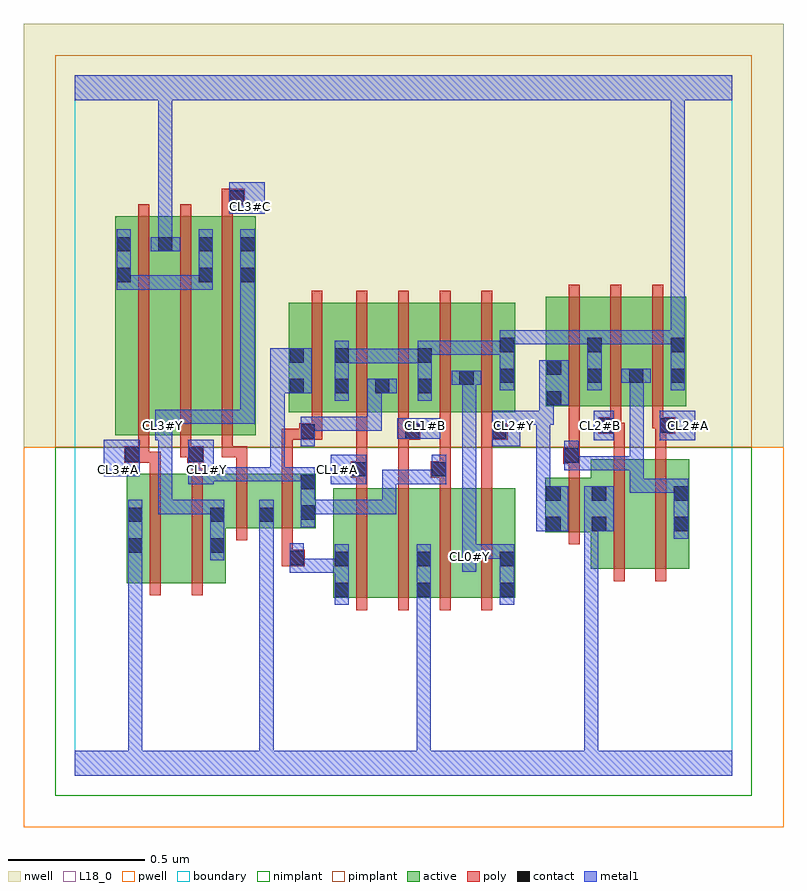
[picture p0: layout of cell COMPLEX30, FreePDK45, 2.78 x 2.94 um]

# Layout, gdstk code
import gdstk
lib = gdstk.Library(unit=1e-6, precision=1e-09)
def R(c, l, rs):  # rectangles x0, y0, x1, y1
    for r in rs: c.add(gdstk.rectangle(r[:2], r[2:], *l))
def A(c, l, x, y, w, h, nx, ny, dx, dy):  # array of equal rectangles
    R(c, l, [(x+i*dx, y+j*dy, x+i*dx+w, y+j*dy+h) for i in range(nx) for j in range(ny)])
active = (1, 0)
pwell = (2, 0)
nwell = (3, 0)
nimplant = (4, 0)
pimplant = (5, 0)
poly = (9, 0)
contact = (10, 0)
metal1 = (11, 0)
L18_0 = (18, 0)
boundary = (235, 0)

complex30 = lib.new_cell('COMPLEX30')
R(complex30, active, [(0.944,0.65,1.004,1.05), (0.944,0.65,1.124,1.05), (1.124,0.65,1.304,1.05), (1.244,0.65,1.304,1.05), (1.244,0.65,1.428,1.05), (1.428,0.65,1.608,1.05), (1.548,0.65,1.608,1.05), (0.19,0.704,0.37,1.104), (0.37,0.704,0.55,1.104), (0.19,0.756,0.25,1.104), (1.884,0.756,2.064,1.156), (2.064,0.756,2.244,1.156), (2.184,0.756,2.244,1.156), (0.49,0.812,0.55,1.028), (1.718,0.89,1.944,1.09), (1.718,0.89,1.778,1.09), (1.884,0.89,1.944,1.062), (0.49,0.904,0.73,1.104), (0.67,0.904,0.73,1.104), (0.67,0.904,0.88,1.104), (0.82,0.904,0.88,1.104), (0.148,1.244,0.208,2.044), (0.148,1.244,0.36,2.044), (0.3,1.244,0.36,2.044), (0.3,1.244,0.508,2.044), (0.448,1.244,0.508,2.044), (0.448,1.244,0.66,2.044), (0.6,1.244,0.66,2.044), (0.78,1.328,1.004,1.728), (0.78,1.328,0.84,1.644), (0.944,1.328,1.152,1.728), (1.092,1.328,1.152,1.728), (1.092,1.328,1.308,1.728), (1.248,1.328,1.308,1.728), (1.248,1.328,1.46,1.728), (1.4,1.328,1.46,1.728), (1.4,1.328,1.608,1.728), (1.548,1.328,1.608,1.728), (1.72,1.35,1.78,1.75), (1.72,1.35,1.928,1.75), (1.868,1.35,1.928,1.644), (1.868,1.35,2.08,1.75), (2.02,1.35,2.08,1.75), (2.02,1.35,2.232,1.75), (2.172,1.35,2.232,1.644), (0.944,1.366,1.004,1.728)])
R(complex30, pwell, [(-0.188,-0.188,2.588,1.2)])
R(complex30, nwell, [(-0.188,1.2,2.588,2.748)])
R(complex30, nimplant, [(-0.072,-0.072,2.472,1.2)])
R(complex30, pimplant, [(-0.072,1.2,2.472,2.632)])
A(complex30, poly, 1.028, 0.606, 0.04, 0.488, 4, 2, 0.152, 0.678)
A(complex30, poly, 0.232, 1.164, 0.04, 0.076, 3, 1, 0.152, 0)
A(complex30, poly, 0.232, 1.2, 0.04, 0.888, 3, 1, 0.152, 0)
A(complex30, poly, 1.804, 1.306, 0.04, 0.488, 3, 1, 0.152, 0)
R(complex30, poly, [(0.274,0.66,0.314,1.148), (0.426,0.66,0.466,1.148), (1.968,0.712,2.008,1.2), (2.12,0.712,2.16,1.2), (0.756,0.766,0.84,0.826), (0.756,0.786,0.796,0.9), (1.804,0.846,1.844,1.134), (0.59,0.86,0.63,1.148), (0.756,0.86,0.796,1.148), (1.028,1.054,1.068,1.13), (1.18,1.054,1.22,1.268), (1.332,1.054,1.372,1.13), (1.484,1.054,1.524,1.268), (1.008,1.09,1.068,1.15), (1.3,1.09,1.372,1.15), (1.804,1.094,1.844,1.18), (0.274,1.108,0.314,1.184), (0.426,1.108,0.466,1.184), (0.59,1.108,0.63,1.204), (0.756,1.108,0.796,1.268), (1.028,1.11,1.068,1.15), (1.028,1.11,1.068,1.15), (1.028,1.11,1.068,1.324), (1.332,1.11,1.372,1.15), (1.332,1.11,1.372,1.15), (1.332,1.11,1.372,1.324), (1.784,1.14,1.844,1.2), (0.18,1.144,0.272,1.204), (0.232,1.144,0.272,1.184), (0.232,1.144,0.314,1.184), (0.41,1.144,0.47,1.204), (1.804,1.16,1.844,1.2), (1.804,1.16,1.844,1.2), (1.804,1.16,1.844,1.346), (1.968,1.16,2.008,1.29), (2.12,1.16,2.16,1.29), (0.384,1.164,0.45,1.204), (0.41,1.164,0.45,1.204), (0.536,1.164,0.604,1.204), (0.564,1.164,0.604,1.204), (0.564,1.164,0.63,1.204), (0.756,1.228,0.86,1.268), (0.82,1.228,0.86,1.268), (0.82,1.228,0.904,1.288), (1.18,1.228,1.22,1.268), (1.18,1.228,1.22,1.268), (1.18,1.228,1.262,1.288), (1.484,1.228,1.524,1.268), (1.484,1.228,1.524,1.268), (1.484,1.228,1.58,1.288), (0.864,1.248,0.904,1.324), (1.18,1.248,1.22,1.324), (1.484,1.248,1.524,1.324), (1.912,1.25,1.996,1.31), (1.956,1.25,1.996,1.29), (1.956,1.25,2.008,1.29), (2.12,1.25,2.192,1.31), (1.956,1.27,1.996,1.346), (2.108,1.27,2.148,1.346), (2.108,1.27,2.16,1.31), (2.12,1.27,2.16,1.31), (0.864,1.284,0.904,1.772), (0.536,2.048,0.576,2.124), (0.536,2.084,0.62,2.144)])
A(complex30, contact, 1.872, 1.436, 0.052, 0.052, 3, 1, 0.152, 0)
R(complex30, contact, [(0.948,0.654,1,0.706), (1.248,0.654,1.3,0.706), (1.552,0.654,1.604,0.706), (0.948,0.766,1,0.818), (1.248,0.766,1.3,0.818), (1.552,0.766,1.604,0.818), (0.784,0.77,0.836,0.822), (0.194,0.816,0.246,0.868), (0.494,0.816,0.546,0.868), (1.722,0.894,1.774,0.946), (1.888,0.894,1.94,0.946), (2.188,0.894,2.24,0.946), (0.194,0.928,0.246,0.98), (0.494,0.928,0.546,0.98), (0.674,0.928,0.726,0.98), (0.824,0.936,0.876,0.988), (1.722,1.006,1.774,1.058), (1.888,1.006,1.94,1.058), (2.188,1.006,2.24,1.058), (0.824,1.048,0.876,1.1), (1.012,1.094,1.064,1.146), (1.304,1.094,1.356,1.146), (1.788,1.144,1.84,1.196), (0.184,1.148,0.236,1.2), (0.414,1.148,0.466,1.2), (0.824,1.232,0.876,1.284), (1.206,1.232,1.258,1.284), (1.524,1.232,1.576,1.284), (1.916,1.254,1.968,1.306), (2.136,1.254,2.188,1.306), (1.724,1.354,1.776,1.406), (0.784,1.398,0.836,1.45), (0.948,1.398,1,1.45), (1.096,1.398,1.148,1.45), (1.252,1.398,1.304,1.45), (1.404,1.428,1.456,1.48), (1.552,1.436,1.604,1.488), (1.724,1.466,1.776,1.518), (0.784,1.51,0.836,1.562), (0.948,1.51,1,1.562), (1.252,1.51,1.304,1.562), (1.552,1.548,1.604,1.6), (1.872,1.548,1.924,1.6), (2.176,1.548,2.228,1.6), (0.152,1.804,0.204,1.856), (0.452,1.804,0.504,1.856), (0.604,1.804,0.656,1.856), (0.152,1.916,0.204,1.968), (0.304,1.916,0.356,1.968), (0.452,1.916,0.504,1.968), (0.604,1.916,0.656,1.968), (0.564,2.088,0.616,2.14)])
R(complex30, metal1, [(0,0,2.4,0.092), (0.194,0.04,0.246,0.092), (0.194,0.04,0.246,0.092), (0.194,0.04,0.246,0.84), (0.674,0.04,0.726,0.092), (0.674,0.04,0.726,0.092), (0.674,0.04,0.726,0.092), (0.674,0.04,0.726,0.092), (0.674,0.04,0.726,0.092), (0.674,0.04,0.726,0.092), (0.674,0.04,0.726,0.092), (0.674,0.04,0.726,0.092), (0.674,0.04,0.726,0.092), (0.674,0.04,0.726,0.092), (0.674,0.04,0.726,0.092), (0.674,0.04,0.726,0.092), (0.674,0.04,0.726,0.092), (0.674,0.04,0.726,0.092), (0.674,0.04,0.726,0.092), (0.674,0.04,0.726,0.092), (0.674,0.04,0.726,0.952), (1.248,0.04,1.3,0.092), (1.248,0.04,1.3,0.092), (1.248,0.04,1.3,0.092), (1.248,0.04,1.3,0.092), (1.248,0.04,1.3,0.092), (1.248,0.04,1.3,0.092), (1.248,0.04,1.3,0.678), (1.86,0.04,1.912,0.092), (1.86,0.04,1.912,0.092), (1.86,0.04,1.912,0.946), (0.948,0.626,1,0.846), (1.248,0.626,1.3,0.678), (1.248,0.626,1.3,0.678), (1.248,0.626,1.3,0.678), (1.248,0.626,1.3,0.678), (1.248,0.626,1.3,0.678), (1.248,0.626,1.3,0.678), (1.248,0.626,1.3,0.846), (1.552,0.626,1.604,0.846), (0.784,0.742,0.836,0.85), (0.784,0.742,0.876,0.794), (0.824,0.742,0.876,0.794), (0.824,0.742,1,0.794), (1.414,0.746,1.466,0.854), (0.194,0.788,0.246,0.84), (0.194,0.788,0.246,0.84), (0.194,0.788,0.246,0.84), (0.194,0.788,0.246,0.84), (0.194,0.788,0.246,0.84), (0.194,0.788,0.246,0.84), (0.194,0.788,0.246,0.84), (0.194,0.788,0.246,0.84), (0.194,0.788,0.246,0.84), (0.194,0.788,0.246,0.84), (0.194,0.788,0.246,1.008), (0.494,0.788,0.546,1.008), (1.414,0.794,1.604,0.846), (1.552,0.794,1.604,0.846), (1.552,0.794,1.604,0.846), (1.552,0.794,1.604,0.846), (1.552,0.794,1.604,0.846), (1.414,0.802,1.466,0.854), (1.414,0.802,1.466,0.854), (1.414,0.802,1.466,1.48), (2.188,0.866,2.24,1.086), (1.684,0.894,1.802,1.058), (1.86,0.894,1.912,0.946), (1.86,0.894,1.912,0.946), (1.86,0.894,1.912,0.946), (1.86,0.894,1.912,0.946), (1.86,0.894,1.912,0.946), (1.86,0.894,1.912,0.946), (1.86,0.894,1.912,0.946), (1.86,0.894,1.912,0.946), (1.86,0.894,1.912,0.946), (1.86,0.894,1.912,0.946), (1.86,0.894,1.968,1.058), (0.674,0.9,0.726,1.008), (0.824,0.908,0.876,1.128), (0.304,0.956,0.356,1.008), (0.304,0.956,0.356,1.008), (0.304,0.956,0.356,1.008), (0.304,0.956,0.546,1.008), (0.304,0.956,0.356,1.278), (0.824,0.956,1.01,1.008), (0.958,0.956,1.01,1.008), (0.958,0.956,1.01,1.008), (0.958,0.956,1.01,1.008), (0.958,0.956,1.174,1.008), (1.122,0.956,1.174,1.008), (1.122,0.956,1.174,1.118), (1.684,1.006,1.736,1.058), (1.684,1.006,1.736,1.058), (1.684,1.006,1.736,1.334), (2.026,1.034,2.078,1.086), (2.026,1.034,2.24,1.086), (2.026,1.034,2.078,1.168), (2.188,1.034,2.24,1.086), (2.188,1.034,2.24,1.086), (0.414,1.066,0.506,1.228), (0.934,1.066,1.064,1.174), (1.122,1.066,1.174,1.118), (1.122,1.066,1.174,1.118), (1.122,1.066,1.174,1.118), (1.122,1.066,1.318,1.118), (1.266,1.066,1.318,1.118), (1.266,1.066,1.356,1.118), (1.304,1.066,1.356,1.174), (0.454,1.076,0.506,1.128), (0.454,1.076,0.506,1.128), (0.454,1.076,0.616,1.128), (0.564,1.076,0.616,1.128), (0.564,1.076,0.616,1.128), (0.564,1.076,0.616,1.128), (0.564,1.076,0.766,1.128), (0.714,1.076,0.766,1.128), (0.714,1.076,0.876,1.128), (0.714,1.076,0.766,1.45), (0.824,1.076,0.876,1.128), (0.824,1.076,0.876,1.128), (0.824,1.076,0.876,1.128), (0.824,1.076,0.876,1.128), (0.106,1.094,0.236,1.228), (1.788,1.116,1.938,1.168), (1.788,1.116,1.84,1.224), (1.886,1.116,1.938,1.168), (1.886,1.116,2.078,1.168), (2.026,1.116,2.078,1.168), (2.026,1.116,2.078,1.168), (2.026,1.116,2.078,1.168), (2.026,1.116,2.078,1.488), (0.824,1.204,0.876,1.312), (1.524,1.204,1.626,1.334), (0.294,1.226,0.356,1.338), (1.894,1.226,1.968,1.334), (2.136,1.226,2.266,1.334), (1.178,1.232,1.334,1.306), (0.824,1.26,0.876,1.312), (0.824,1.26,0.876,1.312), (0.824,1.26,1.01,1.312), (0.958,1.26,1.01,1.312), (0.958,1.26,1.01,1.312), (0.958,1.26,1.01,1.312), (0.958,1.26,1.12,1.312), (1.068,1.26,1.12,1.312), (1.068,1.26,1.12,1.45), (1.574,1.282,1.626,1.334), (1.574,1.282,1.626,1.334), (1.574,1.282,1.736,1.334), (1.684,1.282,1.748,1.334), (1.696,1.282,1.748,1.406), (0.304,1.286,0.356,1.338), (0.304,1.286,0.356,1.338), (0.304,1.286,0.356,1.338), (0.304,1.286,0.356,1.338), (0.304,1.286,0.506,1.338), (0.454,1.286,0.506,1.338), (0.454,1.286,0.616,1.338), (0.564,1.286,0.616,1.338), (0.564,1.286,0.656,1.338), (0.604,1.286,0.656,1.338), (0.604,1.286,0.656,1.828), (1.696,1.354,1.804,1.518), (0.948,1.37,1,1.59), (1.252,1.37,1.304,1.59), (0.714,1.398,0.766,1.45), (0.714,1.398,0.766,1.45), (0.714,1.398,0.864,1.562), (1.068,1.398,1.176,1.45), (1.552,1.408,1.604,1.628), (1.872,1.408,1.924,1.628), (2.176,1.408,2.228,1.628), (1.376,1.428,1.484,1.48), (1.996,1.436,2.104,1.488), (2.026,1.436,2.078,1.488), (2.026,1.436,2.078,1.488), (0.948,1.508,1,1.56), (0.948,1.508,1,1.56), (0.948,1.508,1.174,1.56), (1.122,1.508,1.174,1.56), (1.122,1.508,1.174,1.56), (1.122,1.508,1.174,1.56), (1.122,1.508,1.304,1.56), (1.252,1.538,1.444,1.59), (1.392,1.538,1.444,1.59), (1.392,1.538,1.444,1.59), (1.392,1.538,1.444,1.59), (1.392,1.538,1.604,1.59), (1.552,1.538,1.604,1.59), (1.552,1.538,1.604,1.59), (1.552,1.576,1.736,1.628), (1.684,1.576,1.736,1.628), (1.684,1.576,1.736,1.628), (1.684,1.576,1.736,1.628), (1.684,1.576,1.924,1.628), (1.872,1.576,2.048,1.628), (1.996,1.576,2.048,1.628), (1.996,1.576,2.048,1.628), (1.996,1.576,2.048,1.628), (1.996,1.576,2.228,1.628), (2.176,1.576,2.228,1.628), (2.176,1.576,2.228,1.628), (2.176,1.576,2.228,1.628), (2.176,1.576,2.228,1.628), (2.176,1.576,2.228,1.628), (2.176,1.576,2.228,1.628), (2.176,1.576,2.228,2.52), (0.152,1.776,0.204,1.828), (0.152,1.776,0.204,1.828), (0.152,1.776,0.204,1.996), (0.152,1.776,0.394,1.828), (0.342,1.776,0.394,1.828), (0.342,1.776,0.394,1.828), (0.342,1.776,0.394,1.828), (0.342,1.776,0.504,1.828), (0.452,1.776,0.504,1.996), (0.604,1.776,0.656,1.996), (0.276,1.916,0.384,1.968), (0.304,1.916,0.356,2.52), (0.564,2.054,0.694,2.168), (0,2.468,2.4,2.56), (0.304,2.468,0.356,2.52), (0.304,2.468,0.356,2.52), (0.304,2.468,0.356,2.52), (0.304,2.468,0.356,2.52), (0.304,2.468,0.356,2.52), (0.304,2.468,0.356,2.52), (0.304,2.468,0.356,2.52), (0.304,2.468,0.356,2.52), (2.176,2.468,2.228,2.52), (2.176,2.468,2.228,2.52), (2.176,2.468,2.228,2.52), (2.176,2.468,2.228,2.52), (2.176,2.468,2.228,2.52), (2.176,2.468,2.228,2.52), (2.176,2.468,2.228,2.52), (2.176,2.468,2.228,2.52), (2.176,2.468,2.228,2.52), (2.176,2.468,2.228,2.52), (2.176,2.468,2.228,2.52), (2.176,2.468,2.228,2.52)])
A(complex30, L18_0, 1.254, 1.254, 0.052, 0.052, 4, 1, 0.32, 0)
R(complex30, L18_0, [(0,0,2.4,0.092), (0.194,0.04,0.246,0.092), (0.194,0.04,0.246,0.092), (0.194,0.04,0.246,0.84), (0.674,0.04,0.726,0.092), (0.674,0.04,0.726,0.092), (0.674,0.04,0.726,0.092), (0.674,0.04,0.726,0.092), (0.674,0.04,0.726,0.092), (0.674,0.04,0.726,0.092), (0.674,0.04,0.726,0.092), (0.674,0.04,0.726,0.092), (0.674,0.04,0.726,0.092), (0.674,0.04,0.726,0.092), (0.674,0.04,0.726,0.092), (0.674,0.04,0.726,0.092), (0.674,0.04,0.726,0.092), (0.674,0.04,0.726,0.092), (0.674,0.04,0.726,0.092), (0.674,0.04,0.726,0.092), (0.674,0.04,0.726,0.952), (1.248,0.04,1.3,0.092), (1.248,0.04,1.3,0.092), (1.248,0.04,1.3,0.092), (1.248,0.04,1.3,0.092), (1.248,0.04,1.3,0.092), (1.248,0.04,1.3,0.092), (1.248,0.04,1.3,0.678), (1.86,0.04,1.912,0.092), (1.86,0.04,1.912,0.092), (1.86,0.04,1.912,0.946), (1.248,0.626,1.3,0.678), (1.248,0.626,1.3,0.678), (1.248,0.626,1.3,0.678), (1.248,0.626,1.3,0.678), (1.248,0.626,1.3,0.678), (1.248,0.626,1.3,0.678), (1.248,0.626,1.3,0.846), (1.552,0.626,1.604,0.846), (1.414,0.746,1.466,0.854), (1.414,0.774,1.466,0.826), (0.194,0.788,0.246,0.84), (0.194,0.788,0.246,0.84), (0.194,0.788,0.246,0.84), (0.194,0.788,0.246,0.84), (0.194,0.788,0.246,0.84), (0.194,0.788,0.246,0.84), (0.194,0.788,0.246,0.84), (0.194,0.788,0.246,0.84), (0.194,0.788,0.246,0.84), (0.194,0.788,0.246,0.84), (0.194,0.788,0.246,1.008), (0.494,0.788,0.546,1.008), (1.414,0.794,1.604,0.846), (1.552,0.794,1.604,0.846), (1.552,0.794,1.604,0.846), (1.552,0.794,1.604,0.846), (1.552,0.794,1.604,0.846), (1.414,0.802,1.466,0.854), (1.414,0.802,1.466,0.854), (1.414,0.802,1.466,1.48), (1.684,0.894,1.802,1.058), (1.86,0.894,1.912,0.946), (1.86,0.894,1.912,0.946), (1.86,0.894,1.912,0.946), (1.86,0.894,1.912,0.946), (1.86,0.894,1.912,0.946), (1.86,0.894,1.912,0.946), (1.86,0.894,1.912,0.946), (1.86,0.894,1.912,0.946), (1.86,0.894,1.912,0.946), (1.86,0.894,1.912,0.946), (1.86,0.894,1.968,1.058), (0.674,0.9,0.726,1.008), (0.824,0.908,0.876,1.128), (0.304,0.956,0.356,1.008), (0.304,0.956,0.356,1.008), (0.304,0.956,0.356,1.008), (0.304,0.956,0.356,1.278), (0.304,0.956,0.546,1.008), (0.824,0.956,1.01,1.008), (0.958,0.956,1.01,1.008), (0.958,0.956,1.01,1.008), (0.958,0.956,1.01,1.008), (0.958,0.956,1.174,1.008), (1.122,0.956,1.174,1.008), (1.122,0.956,1.174,1.118), (1.684,1.006,1.736,1.058), (1.684,1.006,1.736,1.058), (1.684,1.006,1.736,1.334), (0.414,1.066,0.506,1.228), (0.934,1.066,1.064,1.174), (1.122,1.066,1.174,1.118), (1.122,1.066,1.174,1.118), (1.122,1.066,1.174,1.118), (1.122,1.066,1.318,1.118), (1.266,1.066,1.318,1.118), (1.266,1.066,1.356,1.118), (1.304,1.066,1.356,1.174), (0.454,1.076,0.506,1.128), (0.454,1.076,0.506,1.128), (0.454,1.076,0.616,1.128), (0.564,1.076,0.616,1.128), (0.564,1.076,0.616,1.128), (0.564,1.076,0.616,1.128), (0.564,1.076,0.766,1.128), (0.714,1.076,0.766,1.128), (0.714,1.076,0.876,1.128), (0.714,1.076,0.766,1.45), (0.824,1.076,0.876,1.128), (0.824,1.076,0.876,1.128), (0.824,1.076,0.876,1.128), (0.824,1.076,0.876,1.128), (0.106,1.094,0.236,1.228), (0.134,1.094,0.186,1.146), (0.454,1.094,0.506,1.146), (0.934,1.094,0.986,1.146), (1.524,1.204,1.626,1.334), (0.294,1.226,0.356,1.338), (1.894,1.226,1.968,1.334), (2.136,1.226,2.266,1.334), (1.178,1.232,1.334,1.306), (0.294,1.254,0.346,1.306), (1.574,1.282,1.626,1.334), (1.574,1.282,1.626,1.334), (1.574,1.282,1.736,1.334), (1.684,1.282,1.748,1.334), (1.696,1.282,1.748,1.406), (0.304,1.286,0.356,1.338), (0.304,1.286,0.356,1.338), (0.304,1.286,0.356,1.338), (0.304,1.286,0.356,1.338), (0.304,1.286,0.506,1.338), (0.454,1.286,0.506,1.338), (0.454,1.286,0.616,1.338), (0.564,1.286,0.616,1.338), (0.564,1.286,0.656,1.338), (0.604,1.286,0.656,1.338), (0.604,1.286,0.656,1.828), (1.696,1.354,1.804,1.518), (0.948,1.37,1,1.59), (1.252,1.37,1.304,1.59), (0.714,1.398,0.766,1.45), (0.714,1.398,0.766,1.45), (0.714,1.398,0.864,1.562), (1.552,1.408,1.604,1.628), (1.872,1.408,1.924,1.628), (2.176,1.408,2.228,1.628), (1.376,1.428,1.484,1.48), (0.948,1.508,1,1.56), (0.948,1.508,1,1.56), (0.948,1.508,1.174,1.56), (1.122,1.508,1.174,1.56), (1.122,1.508,1.174,1.56), (1.122,1.508,1.174,1.56), (1.122,1.508,1.304,1.56), (1.252,1.538,1.444,1.59), (1.392,1.538,1.444,1.59), (1.392,1.538,1.444,1.59), (1.392,1.538,1.444,1.59), (1.392,1.538,1.604,1.59), (1.552,1.538,1.604,1.59), (1.552,1.538,1.604,1.59), (1.552,1.576,1.736,1.628), (1.684,1.576,1.736,1.628), (1.684,1.576,1.736,1.628), (1.684,1.576,1.736,1.628), (1.684,1.576,1.924,1.628), (1.872,1.576,2.048,1.628), (1.996,1.576,2.048,1.628), (1.996,1.576,2.048,1.628), (1.996,1.576,2.048,1.628), (1.996,1.576,2.228,1.628), (2.176,1.576,2.228,1.628), (2.176,1.576,2.228,1.628), (2.176,1.576,2.228,1.628), (2.176,1.576,2.228,1.628), (2.176,1.576,2.228,1.628), (2.176,1.576,2.228,1.628), (2.176,1.576,2.228,2.52), (0.604,1.776,0.656,1.996), (0.276,1.916,0.384,1.968), (0.304,1.916,0.356,2.52), (0.564,2.054,0.694,2.168), (0.614,2.054,0.666,2.106), (0,2.468,2.4,2.56), (0.304,2.468,0.356,2.52), (0.304,2.468,0.356,2.52), (0.304,2.468,0.356,2.52), (0.304,2.468,0.356,2.52), (0.304,2.468,0.356,2.52), (0.304,2.468,0.356,2.52), (0.304,2.468,0.356,2.52), (0.304,2.468,0.356,2.52), (2.176,2.468,2.228,2.52), (2.176,2.468,2.228,2.52), (2.176,2.468,2.228,2.52), (2.176,2.468,2.228,2.52), (2.176,2.468,2.228,2.52), (2.176,2.468,2.228,2.52), (2.176,2.468,2.228,2.52), (2.176,2.468,2.228,2.52), (2.176,2.468,2.228,2.52), (2.176,2.468,2.228,2.52), (2.176,2.468,2.228,2.52), (2.176,2.468,2.228,2.52)])
R(complex30, boundary, [(0,0,2.4,2.56)])
complex30.add(gdstk.Label('CL0#Y', (1.44,0.8), layer=11, texttype=0))
complex30.add(gdstk.Label('CL1#A', (0.96,1.12), layer=11, texttype=0))
complex30.add(gdstk.Label('CL1#B', (1.28,1.28), layer=11, texttype=0))
complex30.add(gdstk.Label('CL1#Y', (0.48,1.12), layer=11, texttype=0))
complex30.add(gdstk.Label('CL2#A', (2.24,1.28), layer=11, texttype=0))
complex30.add(gdstk.Label('CL2#B', (1.92,1.28), layer=11, texttype=0))
complex30.add(gdstk.Label('CL2#Y', (1.6,1.28), layer=11, texttype=0))
complex30.add(gdstk.Label('CL3#A', (0.16,1.12), layer=11, texttype=0))
complex30.add(gdstk.Label('CL3#C', (0.64,2.08), layer=11, texttype=0))
complex30.add(gdstk.Label('CL3#Y', (0.32,1.28), layer=11, texttype=0))

lib.write_gds('COMPLEX30.gds')
